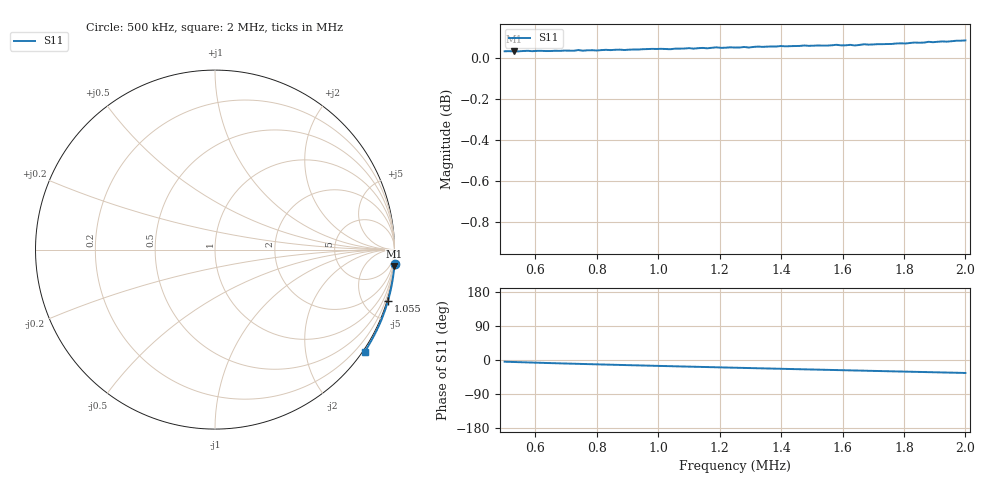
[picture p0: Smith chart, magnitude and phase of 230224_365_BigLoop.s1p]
# HZ S RI R 50
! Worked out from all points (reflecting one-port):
!   101 points, 500 kHz to 2 MHz, reference 50 ohm
!   lowest |S11| = 0.0 dB at 530 kHz (marker M1)
!   phase of S11 starts at -4 deg and turns -30 deg over the sweep
!   S11 on the Smith chart (normalised r, x): 500 kHz: -1, -26; 1.055 MHz: -0.12, -6.84; 2 MHz: -0.06, -3.25
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500000  1.001 -0.0783
530000  0.9993 -0.092
560000  0.9982 -0.1053
605000  0.9961 -0.1244
695000  0.9911 -0.1605
725000  0.9892 -0.1714
770000  0.9863 -0.1886
875000  0.9787 -0.2263
980000  0.9701 -0.2622
1055000  0.9631 -0.2875
1070000  0.9617 -0.2921
1085000  0.9602 -0.2974
1115000  0.9572 -0.3066
1130000  0.9557 -0.312
1160000  0.9526 -0.3212
1190000  0.9497 -0.3311
1250000  0.9428 -0.35
1340000  0.9322 -0.3784
1370000  0.9288 -0.3872
1445000  0.9192 -0.4103
1580000  0.901 -0.4502
1625000  0.8944 -0.4633
1640000  0.8918 -0.4674
1670000  0.8879 -0.4762
1715000  0.8811 -0.4888
1820000  0.8647 -0.5185
1925000  0.8479 -0.5473
2000000  0.8348 -0.5679
